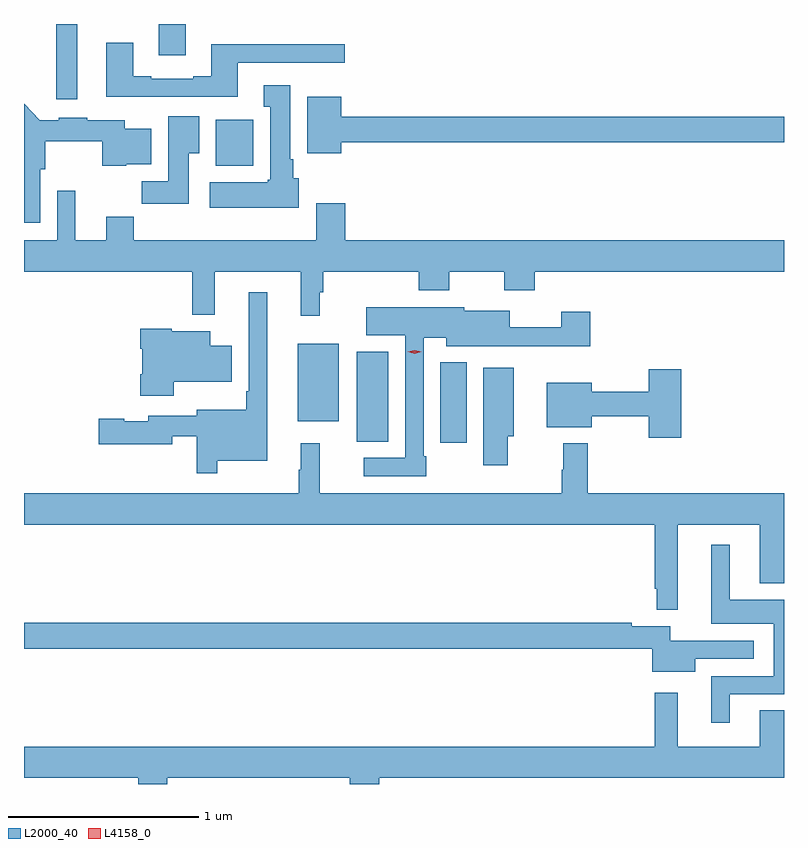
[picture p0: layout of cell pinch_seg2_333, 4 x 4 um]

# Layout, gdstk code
import gdstk
lib = gdstk.Library(unit=1e-6, precision=1e-09)
def R(c, l, rs):  # rectangles x0, y0, x1, y1
    for r in rs: c.add(gdstk.rectangle(r[:2], r[2:], *l))
def P(c, l, *ps):  # polygons
    for p in ps: c.add(gdstk.Polygon(p, *l))
L2000_40 = (2000, 40)
L4158_0 = (4158, 0)

pinch_seg2_333 = lib.new_cell('pinch_seg2_333')
R(pinch_seg2_333, L2000_40, [(1010.735,642.738,1010.872,643.162), (1010.294,642.745,1010.461,643.219), (1009.985,642.851,1010.2,643.261), (1009.553,644.198,1009.75,644.44), (1008.713,644.547,1008.823,644.943), (1009.253,644.778,1009.393,644.943)])
P(pinch_seg2_333, L2000_40, [(1009.669,644.739),(1010.23,644.739),(1010.23,644.836),(1009.529,644.836),(1009.529,644.668),(1009.433,644.668),(1009.433,644.655),(1009.213,644.655),(1009.213,644.668),(1009.117,644.668),(1009.117,644.845),(1008.977,644.845),(1008.977,644.559),(1009.669,644.559)],
  [(1009.99,644.13),(1009.96,644.13),(1009.96,644.23),(1009.945,644.23),(1009.945,644.62),(1009.805,644.62),(1009.805,644.507),(1009.838,644.507),(1009.838,644.124),(1009.825,644.124),(1009.825,644.11),(1009.521,644.11),(1009.521,643.976),(1009.99,643.976)],
  [(1010.212,644.32),(1012.543,644.32),(1012.543,644.456),(1010.212,644.456),(1010.212,644.56),(1010.033,644.56),(1010.033,644.264),(1010.212,644.264)],
  [(1008.628,644.178),(1008.654,644.178),(1008.654,644.327),(1008.955,644.327),(1008.955,644.198),(1009.08,644.198),(1009.08,644.204),(1009.213,644.204),(1009.213,644.392),(1009.072,644.392),(1009.072,644.437),(1008.876,644.437),(1008.876,644.449),(1008.726,644.449),(1008.726,644.437),(1008.627,644.437),(1008.543,644.522),(1008.543,643.898),(1008.628,643.898)],
  [(1009.411,644.264),(1009.465,644.264),(1009.465,644.458),(1009.301,644.458),(1009.301,644.116),(1009.162,644.116),(1009.162,643.998),(1009.411,643.998)],
  [(1009.121,643.928),(1008.977,643.928),(1008.977,643.804),(1008.814,643.804),(1008.814,644.065),(1008.717,644.065),(1008.717,643.804),(1008.543,643.804),(1008.543,643.64),(1009.429,643.64),(1009.429,643.412),(1009.547,643.412),(1009.547,643.64),(1010,643.64),(1010,643.407),(1010.1,643.407),(1010.1,643.532),(1010.117,643.532),(1010.117,643.64),(1010.621,643.64),(1010.621,643.541),(1010.781,643.541),(1010.781,643.64),(1011.07,643.64),(1011.07,643.541),(1011.23,643.541),(1011.23,643.64),(1012.543,643.64),(1012.543,643.804),(1010.234,643.804),(1010.234,643.999),(1010.081,643.999),(1010.081,643.804),(1009.121,643.804)],
  [(1009.561,642.644),(1009.822,642.644),(1009.822,643.531),(1009.725,643.531),(1009.725,643.009),(1009.713,643.009),(1009.713,642.913),(1009.451,642.913),(1009.451,642.882),(1009.196,642.882),(1009.196,642.853),(1009.07,642.853),(1009.07,642.866),(1008.936,642.866),(1008.936,642.731),(1009.324,642.731),(1009.324,642.774),(1009.452,642.774),(1009.452,642.579),(1009.561,642.579)],
  [(1010.659,642.667),(1010.646,642.667),(1010.646,643.292),(1010.765,643.292),(1010.765,643.247),(1011.524,643.247),(1011.524,643.429),(1011.371,643.429),(1011.371,643.346),(1011.1,643.346),(1011.1,643.435),(1010.859,643.435),(1010.859,643.453),(1010.343,643.453),(1010.343,643.304),(1010.55,643.304),(1010.55,642.66),(1010.331,642.66),(1010.331,642.564),(1010.659,642.564)],
  [(1009.332,643.061),(1009.636,643.061),(1009.636,643.249),(1009.522,643.249),(1009.522,643.327),(1009.32,643.327),(1009.32,643.339),(1009.154,643.339),(1009.154,643.235),(1009.166,643.235),(1009.166,643.099),(1009.154,643.099),(1009.154,642.987),(1009.332,642.987)],
  [(1011.09,642.773),(1011.121,642.773),(1011.121,643.135),(1010.96,643.135),(1010.96,642.621),(1011.09,642.621)],
  [(1012.001,643.126),(1011.83,643.126),(1011.83,643.007),(1011.532,643.007),(1011.532,643.054),(1011.293,643.054),(1011.293,642.821),(1011.532,642.821),(1011.532,642.879),(1011.83,642.879),(1011.83,642.765),(1012.001,642.765)],
  [(1011.985,642.308),(1012.415,642.308),(1012.415,641.999),(1012.543,641.999),(1012.543,642.472),(1011.509,642.472),(1011.509,642.736),(1011.381,642.736),(1011.381,642.596),(1011.373,642.596),(1011.373,642.472),(1010.1,642.472),(1010.1,642.736),(1010,642.736),(1010,642.596),(1009.989,642.596),(1009.989,642.472),(1008.543,642.472),(1008.543,642.308),(1011.864,642.308),(1011.864,641.971),(1011.872,641.971),(1011.872,641.859),(1011.985,641.859)],
  [(1012.258,641.415),(1012.543,641.415),(1012.543,641.914),(1012.258,641.914),(1012.258,642.202),(1012.16,642.202),(1012.16,641.786),(1012.49,641.786),(1012.49,641.511),(1012.16,641.511),(1012.16,641.265),(1012.258,641.265)],
  [(1012.075,641.601),(1012.384,641.601),(1012.384,641.697),(1011.945,641.697),(1011.945,641.772),(1011.742,641.772),(1011.742,641.792),(1008.543,641.792),(1008.543,641.656),(1011.849,641.656),(1011.849,641.534),(1012.075,641.534)],
  [(1009.297,640.976),(1010.257,640.976),(1010.257,640.943),(1010.414,640.943),(1010.414,640.976),(1012.543,640.976),(1012.543,641.33),(1012.415,641.33),(1012.415,641.14),(1011.985,641.14),(1011.985,641.422),(1011.864,641.422),(1011.864,641.14),(1008.543,641.14),(1008.543,640.976),(1009.145,640.976),(1009.145,640.943),(1009.297,640.943)])
P(pinch_seg2_333, L4158_0, [(1010.599,643.207),(1010.564,643.217),(1010.564,643.217),(1010.564,643.218),(1010.599,643.227),(1010.634,643.218),(1010.634,643.217),(1010.634,643.217)])

lib.write_gds('pinch_seg2_333.gds')
